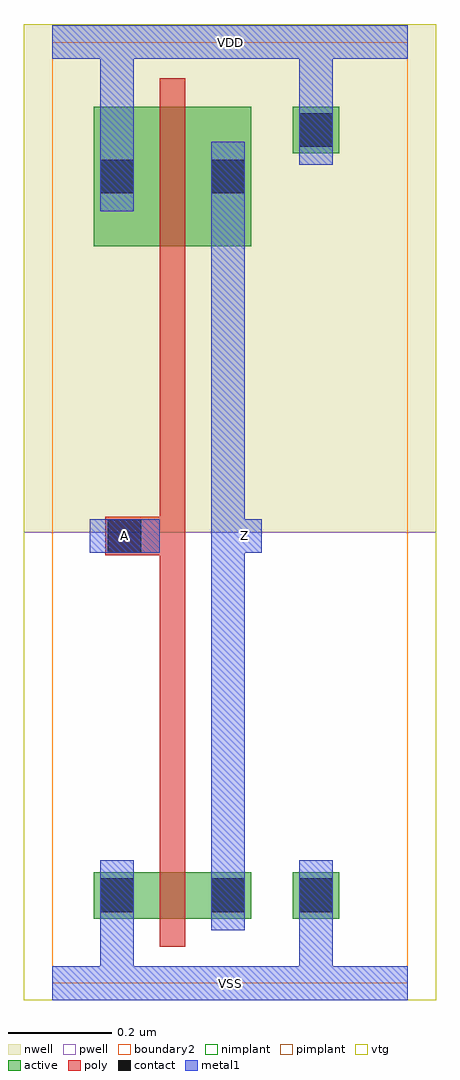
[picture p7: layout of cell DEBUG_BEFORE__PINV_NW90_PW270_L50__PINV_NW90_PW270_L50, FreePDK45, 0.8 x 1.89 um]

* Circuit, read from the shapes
.subckt DEBUG_BEFORE__PINV_NW90_PW270_L50__PINV_NW90_PW270_L50 A VDD VSS Z
M1 Z A VSS VSS nfet w=0.09u l=0.05u
M2 Z A VDD VDD pfet w=0.27u l=0.05u
.ends

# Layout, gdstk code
import gdstk
lib = gdstk.Library(unit=1e-6, precision=5e-10)
def R(c, l, rs):  # rectangles x0, y0, x1, y1
    for r in rs: c.add(gdstk.rectangle(r[:2], r[2:], *l))
active = (1, 0)
pwell = (2, 0)
nwell = (3, 0)
nimplant = (4, 0)
pimplant = (5, 0)
vtg = (6, 0)
poly = (9, 0)
contact = (10, 0)
metal1 = (11, 0)
boundary2 = (239, 0)

debug_before__pinv_nw90_ = lib.new_cell('DEBUG_BEFORE__PINV_NW90_PW270_L50__TRANSMISSION_GATE_NW250_PW500_L50_contact_8')
R(debug_before__pinv_nw90_, active, [(0,0.0225,0.09,0.1125)])
R(debug_before__pinv_nw90_, nwell, [(-0.055,-0.0325,0.145,0.1675)])
R(debug_before__pinv_nw90_, pimplant, [(0,0.0225,0.09,0.1125)])
R(debug_before__pinv_nw90_, contact, [(0.0125,0.035,0.0775,0.1)])
R(debug_before__pinv_nw90_, metal1, [(0.0125,0,0.0775,0.135)])
R(debug_before__pinv_nw90_, boundary2, [(-0.055,-0.0325,0.145,0.1675)])

c_debug_before__pinv_nw90_ = lib.new_cell('DEBUG_BEFORE__PINV_NW90_PW270_L50__PINV_NW180_PW270_L50_pmos_m1_w0_270_sm1_dm1_da_p')
R(c_debug_before__pinv_nw90_, active, [(0,0,0.305,0.27)])
R(c_debug_before__pinv_nw90_, nwell, [(-0.08,-0.08,0.385,0.35)])
R(c_debug_before__pinv_nw90_, pimplant, [(0,0,0.305,0.27)])
R(c_debug_before__pinv_nw90_, vtg, [(-0.08,-0.08,0.385,0.35)])
R(c_debug_before__pinv_nw90_, poly, [(0.1275,-0.055,0.1775,0.325), (0.1275,-0.055,0.1775,0.325)])
R(c_debug_before__pinv_nw90_, metal1, [(0.0125,0.0675,0.0775,0.2025), (0.2275,0.0675,0.2925,0.2025)])
R(c_debug_before__pinv_nw90_, boundary2, [(-0.08,-0.08,0.385,0.35)])
c_debug_before__pinv_nw90_.add(gdstk.Reference(debug_before__pinv_nw90_, (0,0.0675)))
c_debug_before__pinv_nw90_.add(gdstk.Reference(debug_before__pinv_nw90_, (0.215,0.0675)))
c_debug_before__pinv_nw90_.add(gdstk.Label('G', (0.1525,0.135), layer=9, texttype=0))
c_debug_before__pinv_nw90_.add(gdstk.Label('S', (0.045,0.135), layer=11, texttype=0))
c_debug_before__pinv_nw90_.add(gdstk.Label('D', (0.26,0.135), layer=11, texttype=0))

c_debug_before__pinv_nw90__ = lib.new_cell('DEBUG_BEFORE__PINV_NW90_PW270_L50__TRANSMISSION_GATE_NW250_PW500_L50_contact_7')
R(c_debug_before__pinv_nw90__, active, [(0,0.0225,0.09,0.1125)])
R(c_debug_before__pinv_nw90__, pwell, [(-0.055,-0.0325,0.145,0.1675)])
R(c_debug_before__pinv_nw90__, nimplant, [(0,0.0225,0.09,0.1125)])
R(c_debug_before__pinv_nw90__, contact, [(0.0125,0.035,0.0775,0.1)])
R(c_debug_before__pinv_nw90__, metal1, [(0.0125,0,0.0775,0.135)])
R(c_debug_before__pinv_nw90__, boundary2, [(-0.055,-0.0325,0.145,0.1675)])

c_debug_before__pinv_nw90___ = lib.new_cell('DEBUG_BEFORE__PINV_NW90_PW270_L50__PINV_NW90_PW270_L50_nmos_m1_w0_090_sm1_dm1_da_p')
R(c_debug_before__pinv_nw90___, active, [(0,0,0.305,0.09)])
R(c_debug_before__pinv_nw90___, pwell, [(-0.08,-0.08,0.385,0.17)])
R(c_debug_before__pinv_nw90___, nimplant, [(0,0,0.305,0.09)])
R(c_debug_before__pinv_nw90___, vtg, [(-0.08,-0.08,0.385,0.17)])
R(c_debug_before__pinv_nw90___, poly, [(0.1275,-0.055,0.1775,0.145), (0.1275,-0.055,0.1775,0.145)])
R(c_debug_before__pinv_nw90___, metal1, [(0.0125,-0.0225,0.0775,0.1125), (0.2275,-0.0225,0.2925,0.1125)])
R(c_debug_before__pinv_nw90___, boundary2, [(-0.08,-0.08,0.385,0.17)])
c_debug_before__pinv_nw90___.add(gdstk.Reference(c_debug_before__pinv_nw90__, (0,-0.0225)))
c_debug_before__pinv_nw90___.add(gdstk.Reference(c_debug_before__pinv_nw90__, (0.215,-0.0225)))
c_debug_before__pinv_nw90___.add(gdstk.Label('G', (0.1525,0.045), layer=9, texttype=0))
c_debug_before__pinv_nw90___.add(gdstk.Label('S', (0.045,0.045), layer=11, texttype=0))
c_debug_before__pinv_nw90___.add(gdstk.Label('D', (0.26,0.045), layer=11, texttype=0))

c_debug_before__pinv_nw90____ = lib.new_cell('DEBUG_BEFORE__PINV_NW90_PW270_L50__TRANSMISSION_GATE_NW250_PW500_L50_contact_9')
R(c_debug_before__pinv_nw90____, active, [(0,0.0225,0.09,0.1125)])
R(c_debug_before__pinv_nw90____, nwell, [(-0.055,-0.0325,0.145,0.1675)])
R(c_debug_before__pinv_nw90____, nimplant, [(0,0.0225,0.09,0.1125)])
R(c_debug_before__pinv_nw90____, contact, [(0.0125,0.035,0.0775,0.1)])
R(c_debug_before__pinv_nw90____, metal1, [(0.0125,0,0.0775,0.135)])
R(c_debug_before__pinv_nw90____, boundary2, [(-0.055,-0.0325,0.145,0.1675)])

c_debug_before__pinv_nw90_____ = lib.new_cell('DEBUG_BEFORE__PINV_NW90_PW270_L50__TRANSMISSION_GATE_NW250_PW500_L50_contact_10')
R(c_debug_before__pinv_nw90_____, active, [(0,0.0225,0.09,0.1125)])
R(c_debug_before__pinv_nw90_____, pwell, [(-0.055,-0.0325,0.145,0.1675)])
R(c_debug_before__pinv_nw90_____, pimplant, [(0,0.0225,0.09,0.1125)])
R(c_debug_before__pinv_nw90_____, contact, [(0.0125,0.035,0.0775,0.1)])
R(c_debug_before__pinv_nw90_____, metal1, [(0.0125,0,0.0775,0.135)])
R(c_debug_before__pinv_nw90_____, boundary2, [(-0.055,-0.0325,0.145,0.1675)])

c_debug_before__pinv_nw90______ = lib.new_cell('DEBUG_BEFORE__PINV_NW90_PW270_L50__PINV_NW180_PW270_L50_contact_11')
R(c_debug_before__pinv_nw90______, poly, [(0.03,0,0.105,0.075)])
R(c_debug_before__pinv_nw90______, contact, [(0.035,0.005,0.1,0.07)])
R(c_debug_before__pinv_nw90______, metal1, [(0,0.005,0.135,0.07)])
R(c_debug_before__pinv_nw90______, boundary2, [(0,0,0.135,0.075)])

c_debug_before__pinv_nw90_______ = lib.new_cell('DEBUG_BEFORE__PINV_NW90_PW270_L50__PINV_NW90_PW270_L50_core')
R(c_debug_before__pinv_nw90_______, pwell, [(-0.055,-0.0325,0.7425,0.8725)])
R(c_debug_before__pinv_nw90_______, nwell, [(-0.055,0.8725,0.7425,1.855)])
R(c_debug_before__pinv_nw90_______, vtg, [(-0.055,-0.0325,0.7425,0.8725), (-0.055,0.8725,0.7425,1.855)])
R(c_debug_before__pinv_nw90_______, poly, [(0.2075,0.27,0.2575,1.37), (0.14,0.8275,0.2075,0.9025)])
R(c_debug_before__pinv_nw90_______, metal1, [(0,-0.0325,0.6875,0.0325), (0.0925,-0.0325,0.1575,0.1025), (0.4775,0,0.5425,0.17), (0.3075,0.1025,0.3725,1.6275), (0.0725,0.8325,0.2075,0.8975), (0.34,0.8325,0.405,0.8975), (0.0925,1.4925,0.1575,1.8525), (0.4775,1.65,0.5425,1.82), (0,1.7875,0.6875,1.8525)])
R(c_debug_before__pinv_nw90_______, boundary2, [(0,0,0.6875,1.82), (0,0,0.6875,1.82)])
c_debug_before__pinv_nw90_______.add(gdstk.Reference(c_debug_before__pinv_nw90_, (0.08,1.425)))
c_debug_before__pinv_nw90_______.add(gdstk.Reference(c_debug_before__pinv_nw90___, (0.08,0.125)))
c_debug_before__pinv_nw90_______.add(gdstk.Reference(c_debug_before__pinv_nw90____, (0.465,1.5825)))
c_debug_before__pinv_nw90_______.add(gdstk.Reference(c_debug_before__pinv_nw90_____, (0.465,0.1025)))
c_debug_before__pinv_nw90_______.add(gdstk.Reference(c_debug_before__pinv_nw90______, (0.0725,0.8275)))
c_debug_before__pinv_nw90_______.add(gdstk.Label('A', (0.14,0.865), layer=11, texttype=0))
c_debug_before__pinv_nw90_______.add(gdstk.Label('Z', (0.3725,0.865), layer=11, texttype=0))
c_debug_before__pinv_nw90_______.add(gdstk.Label('gnd', (0.344,0), layer=11, texttype=0))
c_debug_before__pinv_nw90_______.add(gdstk.Label('vdd', (0.344,1.82), layer=11, texttype=0))

c_debug_before__pinv_nw90________ = lib.new_cell('DEBUG_BEFORE__PINV_NW90_PW270_L50__PINV_NW90_PW270_L50')
R(c_debug_before__pinv_nw90________, metal1, [(0,-0.0325,0.6875,0.0325), (0.0725,0.8325,0.2075,0.8975), (0.34,0.8325,0.405,0.8975), (0,1.7875,0.6875,1.8525)])
R(c_debug_before__pinv_nw90________, boundary2, [(0,0,0.6875,1.82)])
c_debug_before__pinv_nw90________.add(gdstk.Reference(c_debug_before__pinv_nw90_______, (0,0)))
c_debug_before__pinv_nw90________.add(gdstk.Label('A', (0.14,0.865), layer=11, texttype=0))
c_debug_before__pinv_nw90________.add(gdstk.Label('Z', (0.3725,0.865), layer=11, texttype=0))
c_debug_before__pinv_nw90________.add(gdstk.Label('VDD', (0.344,1.82), layer=11, texttype=0))
c_debug_before__pinv_nw90________.add(gdstk.Label('VSS', (0.344,0), layer=11, texttype=0))

lib.write_gds('DEBUG_BEFORE__PINV_NW90_PW270_L50__PINV_NW90_PW270_L50.gds')
